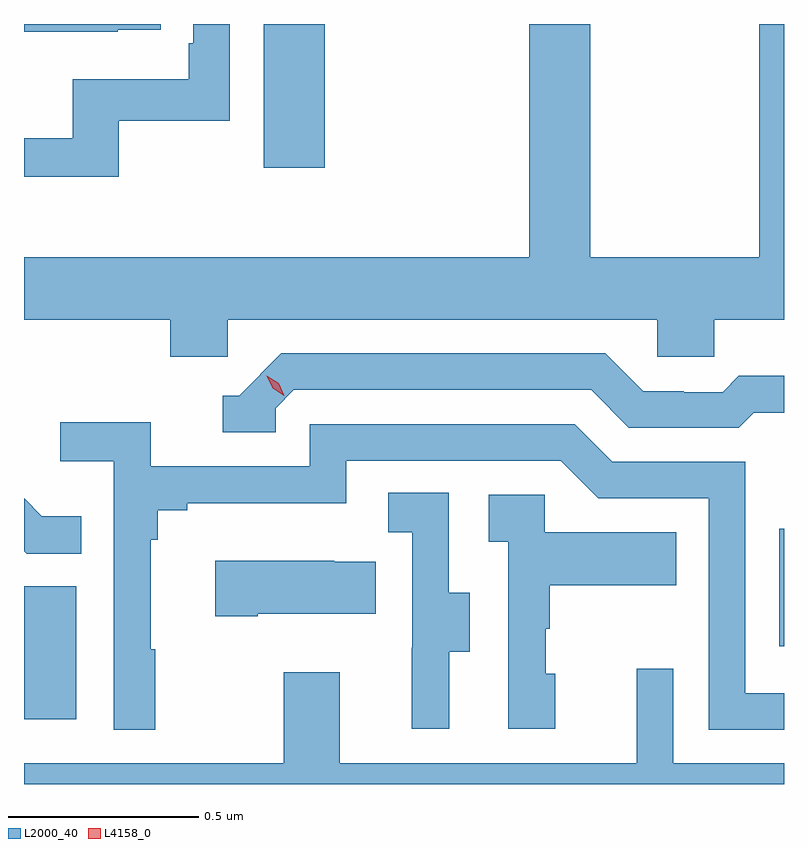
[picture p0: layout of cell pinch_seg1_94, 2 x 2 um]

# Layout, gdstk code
import gdstk
lib = gdstk.Library(unit=1e-6, precision=1e-09)
def R(c, l, rs):  # rectangles x0, y0, x1, y1
    for r in rs: c.add(gdstk.rectangle(r[:2], r[2:], *l))
def P(c, l, *ps):  # polygons
    for p in ps: c.add(gdstk.Polygon(p, *l))
L2000_40 = (2000, 40)
L4158_0 = (4158, 0)

pinch_seg1_94 = lib.new_cell('pinch_seg1_94')
R(pinch_seg1_94, L2000_40, [(1020.952,553.344,1021.09,553.695), (1022.94,553.536,1022.952,553.846), (1021.583,554.796,1021.744,555.174)])
P(pinch_seg1_94, L2000_40, [(1021.199,555.159),(1021.312,555.159),(1021.312,555.174),(1020.952,555.174),(1020.952,555.154),(1021.199,555.154)],
  [(1021.201,554.919),(1021.494,554.919),(1021.494,555.174),(1021.398,555.174),(1021.398,555.124),(1021.385,555.124),(1021.385,555.028),(1021.08,555.028),(1021.08,554.873),(1020.952,554.873),(1020.952,554.772),(1021.201,554.772)],
  [(1021.488,554.396),(1022.619,554.396),(1022.619,554.298),(1022.769,554.298),(1022.769,554.396),(1022.952,554.396),(1022.952,555.174),(1022.887,555.174),(1022.887,554.56),(1022.442,554.56),(1022.442,555.174),(1022.282,555.174),(1022.282,554.56),(1020.952,554.56),(1020.952,554.396),(1021.337,554.396),(1021.337,554.298),(1021.488,554.298)],
  [(1021.614,554.163),(1021.662,554.211),(1022.445,554.211),(1022.544,554.112),(1022.833,554.112),(1022.872,554.151),(1022.952,554.151),(1022.952,554.248),(1022.833,554.248),(1022.791,554.205),(1022.688,554.205),(1022.688,554.208),(1022.581,554.208),(1022.482,554.307),(1021.629,554.307),(1021.518,554.196),(1021.475,554.196),(1021.475,554.1),(1021.614,554.1)],
  [(1021.297,553.529),(1021.285,553.529),(1021.285,553.817),(1021.304,553.817),(1021.304,553.894),(1021.381,553.894),(1021.381,553.913),(1021.8,553.913),(1021.8,554.025),(1022.364,554.025),(1022.463,553.926),(1022.754,553.926),(1022.754,553.317),(1022.952,553.317),(1022.952,553.413),(1022.85,553.413),(1022.85,554.022),(1022.5,554.022),(1022.401,554.121),(1021.704,554.121),(1021.704,554.01),(1021.286,554.01),(1021.286,554.126),(1021.047,554.126),(1021.047,554.024),(1021.188,554.024),(1021.188,553.317),(1021.297,553.317)],
  [(1022.071,553.522),(1022.125,553.522),(1022.125,553.677),(1022.07,553.677),(1022.07,553.94),(1021.911,553.94),(1021.911,553.837),(1021.974,553.837),(1021.974,553.533),(1021.973,553.533),(1021.973,553.32),(1022.071,553.32)],
  [(1022.35,553.464),(1022.325,553.464),(1022.325,553.583),(1022.335,553.583),(1022.335,553.697),(1022.669,553.697),(1022.669,553.837),(1022.322,553.837),(1022.322,553.935),(1022.175,553.935),(1022.175,553.811),(1022.226,553.811),(1022.226,553.32),(1022.35,553.32)],
  [(1021.103,553.879),(1020.999,553.879),(1020.952,553.926),(1020.952,553.787),(1020.959,553.78),(1021.103,553.78)],
  [(1021.567,553.622),(1021.877,553.622),(1021.877,553.759),(1021.769,553.759),(1021.769,553.762),(1021.455,553.762),(1021.455,553.615),(1021.567,553.615)],
  [(1022.952,553.228),(1022.661,553.228),(1022.661,553.477),(1022.564,553.477),(1022.564,553.228),(1021.783,553.228),(1021.783,553.468),(1021.636,553.468),(1021.636,553.228),(1020.952,553.228),(1020.952,553.174),(1022.952,553.174)])
P(pinch_seg1_94, L4158_0, [(1021.637,554.196),(1021.606,554.216),(1021.591,554.249),(1021.591,554.249),(1021.591,554.249),(1021.622,554.229),(1021.637,554.196),(1021.637,554.196)])

lib.write_gds('pinch_seg1_94.gds')
